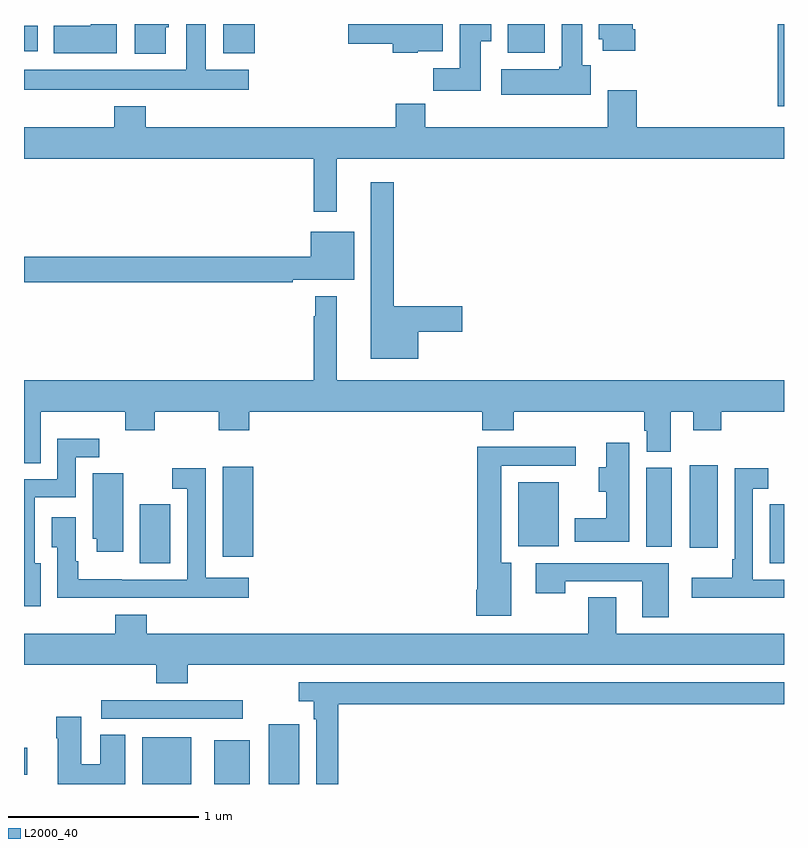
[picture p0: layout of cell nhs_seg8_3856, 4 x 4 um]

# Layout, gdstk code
import gdstk
lib = gdstk.Library(unit=1e-6, precision=1e-09)
def R(c, l, rs):  # rectangles x0, y0, x1, y1
    for r in rs: c.add(gdstk.rectangle(r[:2], r[2:], *l))
def P(c, l, *ps):  # polygons
    for p in ps: c.add(gdstk.Polygon(p, *l))
L2000_40 = (2000, 40)

nhs_seg8_3856 = lib.new_cell('nhs_seg8_3856')
R(nhs_seg8_3856, L2000_40, [(349.622,1087.9,349.879,1088.146), (350,1087.9,350.188,1088.131), (350.288,1087.9,350.449,1088.215), (349,1087.949,349.018,1088.091), (349.407,1088.244,350.152,1088.34), (349.61,1089.061,349.771,1089.372), (352.925,1089.061,353,1089.372), (350.045,1089.096,350.206,1089.571), (352.505,1089.144,352.651,1089.577), (352.274,1089.148,352.408,1089.564), (351.602,1089.152,351.814,1089.487), (352.966,1091.466,353,1091.9), (350.048,1091.747,350.214,1091.9), (351.545,1091.75,351.742,1091.9), (349,1091.756,349.072,1091.89)])
P(nhs_seg8_3856, L2000_40, [(350.182,1091.659),(349.957,1091.659),(349.957,1091.9),(349.853,1091.9),(349.853,1091.659),(349,1091.659),(349,1091.555),(350.182,1091.555)],
  [(351.982,1091.682),(351.937,1091.682),(351.937,1091.9),(351.83,1091.9),(351.83,1091.676),(351.817,1091.676),(351.817,1091.662),(351.513,1091.662),(351.513,1091.528),(351.982,1091.528)],
  [(352.217,1091.872),(352.204,1091.872),(352.204,1091.9),(352.025,1091.9),(352.025,1091.82),(352.046,1091.82),(352.046,1091.76),(352.217,1091.76)],
  [(349.747,1091.883),(349.762,1091.883),(349.762,1091.9),(349.583,1091.9),(349.583,1091.744),(349.747,1091.744)],
  [(349.489,1091.9),(349.352,1091.9),(349.352,1091.89),(349.157,1091.89),(349.157,1091.747),(349.489,1091.747)],
  [(351.403,1091.809),(351.46,1091.809),(351.46,1091.9),(351.293,1091.9),(351.293,1091.668),(351.154,1091.668),(351.154,1091.55),(351.403,1091.55)],
  [(351.072,1091.756),(351.205,1091.756),(351.205,1091.9),(350.706,1091.9),(350.706,1091.797),(350.942,1091.797),(350.942,1091.75),(351.072,1091.75)],
  [(350.647,1091.192),(353,1091.192),(353,1091.356),(352.226,1091.356),(352.226,1091.551),(352.073,1091.551),(352.073,1091.356),(351.113,1091.356),(351.113,1091.48),(350.957,1091.48),(350.957,1091.356),(349.64,1091.356),(349.64,1091.467),(349.475,1091.467),(349.475,1091.356),(349,1091.356),(349,1091.192),(350.526,1091.192),(350.526,1090.911),(350.647,1090.911)],
  [(351.076,1090.28),(351.307,1090.28),(351.307,1090.415),(350.947,1090.415),(350.947,1091.068),(350.825,1091.068),(350.825,1090.139),(351.076,1090.139)],
  [(350.414,1090.553),(350.737,1090.553),(350.737,1090.807),(350.51,1090.807),(350.51,1090.676),(349,1090.676),(349,1090.54),(350.414,1090.54)],
  [(349.087,1089.86),(349.534,1089.86),(349.534,1089.761),(349.689,1089.761),(349.689,1089.86),(350.026,1089.86),(350.026,1089.761),(350.186,1089.761),(350.186,1089.86),(351.413,1089.86),(351.413,1089.761),(351.578,1089.761),(351.578,1089.86),(352.265,1089.86),(352.265,1089.759),(352.277,1089.759),(352.277,1089.649),(352.405,1089.649),(352.405,1089.86),(352.523,1089.86),(352.523,1089.761),(352.671,1089.761),(352.671,1089.86),(353,1089.86),(353,1090.024),(350.647,1090.024),(350.647,1090.468),(350.532,1090.468),(350.532,1090.361),(350.526,1090.361),(350.526,1090.024),(349,1090.024),(349,1089.589),(349.087,1089.589)],
  [(349.087,1089.063),(349.057,1089.063),(349.057,1089.408),(349.272,1089.408),(349.272,1089.621),(349.396,1089.621),(349.396,1089.718),(349.176,1089.718),(349.176,1089.504),(349,1089.504),(349,1088.835),(349.087,1088.835)],
  [(352.186,1089.697),(352.064,1089.697),(352.064,1089.567),(352.025,1089.567),(352.025,1089.437),(352.064,1089.437),(352.064,1089.298),(351.899,1089.298),(351.899,1089.176),(352.186,1089.176)],
  [(351.565,1089.064),(351.511,1089.064),(351.511,1089.576),(351.904,1089.576),(351.904,1089.674),(351.386,1089.674),(351.386,1088.922),(351.38,1088.922),(351.38,1088.786),(351.565,1088.786)],
  [(352.933,1088.88),(353,1088.88),(353,1088.976),(352.836,1088.976),(352.836,1089.453),(352.918,1089.453),(352.918,1089.562),(352.74,1089.562),(352.74,1089.082),(352.728,1089.082),(352.728,1088.986),(352.515,1088.986),(352.515,1088.879),(352.933,1088.879)],
  [(349.397,1088.88),(349.763,1088.88),(349.763,1088.879),(350.182,1088.879),(350.182,1088.986),(349.956,1088.986),(349.956,1089.562),(349.779,1089.562),(349.779,1089.453),(349.86,1089.453),(349.86,1088.976),(349.514,1088.976),(349.514,1088.977),(349.285,1088.977),(349.285,1089.073),(349.272,1089.073),(349.272,1089.304),(349.145,1089.304),(349.145,1089.145),(349.176,1089.145),(349.176,1088.879),(349.397,1088.879)],
  [(349.522,1089.536),(349.361,1089.536),(349.361,1089.192),(349.382,1089.192),(349.382,1089.123),(349.522,1089.123)],
  [(352.393,1089.063),(351.693,1089.063),(351.693,1088.904),(351.849,1088.904),(351.849,1088.967),(352.253,1088.967),(352.253,1088.778),(352.393,1088.778)],
  [(349.862,1088.528),(353,1088.528),(353,1088.692),(352.117,1088.692),(352.117,1088.882),(351.97,1088.882),(351.97,1088.692),(349.646,1088.692),(349.646,1088.791),(349.481,1088.791),(349.481,1088.692),(349,1088.692),(349,1088.528),(349.697,1088.528),(349.697,1088.429),(349.862,1088.429)],
  [(350.654,1088.32),(353,1088.32),(353,1088.436),(350.445,1088.436),(350.445,1088.336),(350.526,1088.336),(350.526,1088.24),(350.538,1088.24),(350.538,1087.9),(350.654,1087.9)],
  [(349.534,1088.159),(349.4,1088.159),(349.4,1088.005),(349.3,1088.005),(349.3,1088.254),(349.171,1088.254),(349.171,1088.141),(349.178,1088.141),(349.178,1087.9),(349.534,1087.9)])

lib.write_gds('nhs_seg8_3856.gds')
